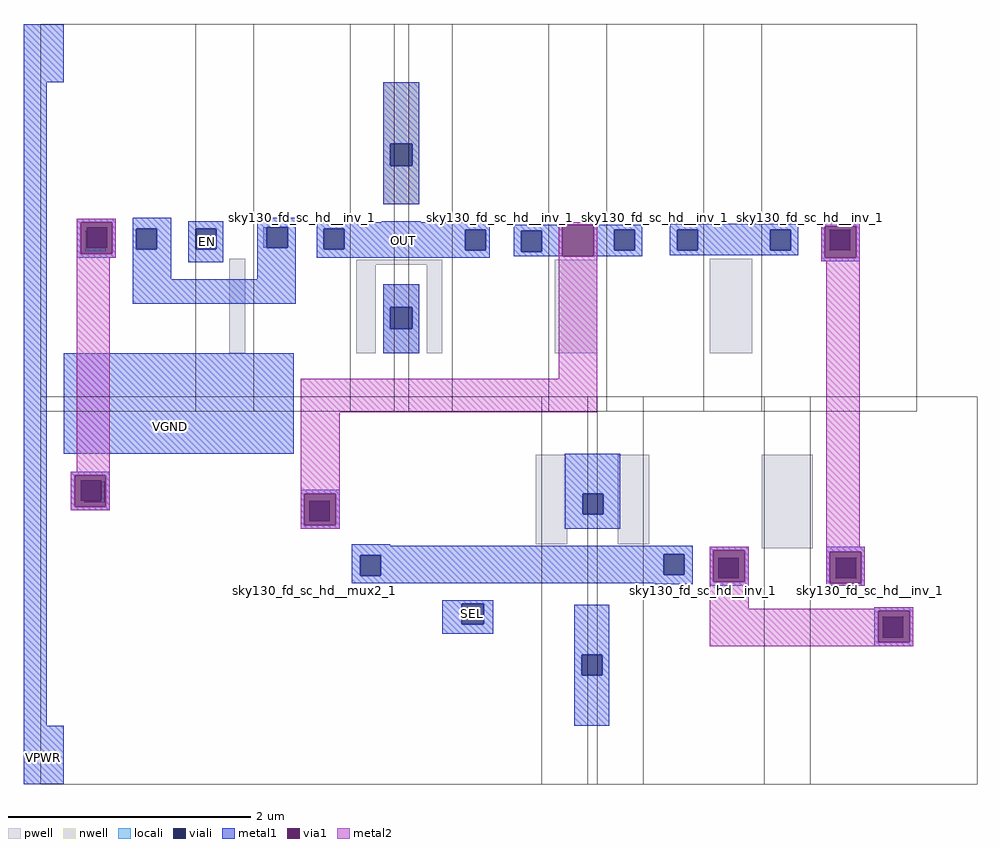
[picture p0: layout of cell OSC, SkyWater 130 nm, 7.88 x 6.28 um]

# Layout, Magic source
magic
tech sky130A
<< nwell >>
rect 540 148 570 249
<< pwell >>
rect 413 25 426 103
rect 518 98 589 102
rect 518 25 534 98
rect 540 25 570 82
rect 576 25 589 98
rect 682 25 717 102
rect 810 25 845 103
rect 666 -120 691 -59
rect 666 -133 692 -120
rect 734 -133 760 -59
rect 853 -136 895 -59
<< locali >>
rect 294 112 295 126
rect 294 109 311 112
rect 441 112 444 129
rect 307 -97 310 -81
rect 293 -98 310 -97
<< viali >>
rect 546 180 564 198
rect 295 112 312 129
rect 336 111 353 128
rect 385 111 402 128
rect 444 112 461 129
rect 491 111 508 128
rect 608 110 625 127
rect 654 109 671 126
rect 731 110 748 127
rect 783 110 800 127
rect 860 110 877 127
rect 909 110 926 127
rect 546 45 564 63
rect 290 -97 307 -80
rect 479 -114 496 -97
rect 705 -108 722 -91
rect 521 -159 538 -142
rect 772 -158 789 -141
rect 817 -161 834 -144
rect 914 -161 931 -144
rect 605 -199 623 -182
rect 953 -210 970 -193
rect 704 -241 721 -224
<< metal1 >>
rect 243 249 276 297
rect 243 -283 262 249
rect 540 198 570 249
rect 540 180 546 198
rect 564 180 570 198
rect 540 148 570 180
rect 287 133 319 136
rect 287 107 290 133
rect 316 107 319 133
rect 287 104 319 107
rect 333 128 365 137
rect 333 111 336 128
rect 353 111 365 128
rect 333 86 365 111
rect 379 128 408 134
rect 379 111 385 128
rect 402 111 408 128
rect 379 100 408 111
rect 436 129 468 137
rect 539 133 571 134
rect 436 112 444 129
rect 461 112 468 129
rect 436 86 468 112
rect 485 128 628 133
rect 485 111 491 128
rect 508 127 628 128
rect 508 111 608 127
rect 485 110 608 111
rect 625 110 628 127
rect 485 104 628 110
rect 648 126 688 131
rect 648 109 654 126
rect 671 109 688 126
rect 648 105 688 109
rect 714 127 754 131
rect 714 110 731 127
rect 748 110 754 127
rect 714 105 754 110
rect 777 127 883 132
rect 777 110 783 127
rect 800 110 860 127
rect 877 110 883 127
rect 777 106 883 110
rect 902 130 934 133
rect 902 104 905 130
rect 931 104 934 130
rect 902 101 934 104
rect 333 66 468 86
rect 540 63 570 82
rect 540 45 546 63
rect 564 45 570 63
rect 540 25 570 45
rect 276 -58 466 25
rect 282 -76 314 -73
rect 282 -102 285 -76
rect 311 -102 314 -76
rect 282 -105 314 -102
rect 472 -91 504 -88
rect 472 -117 475 -91
rect 501 -117 504 -91
rect 472 -120 504 -117
rect 690 -91 736 -58
rect 690 -108 705 -91
rect 722 -108 736 -91
rect 690 -120 736 -108
rect 514 -134 546 -133
rect 514 -141 796 -134
rect 514 -142 772 -141
rect 514 -159 521 -142
rect 538 -158 772 -142
rect 789 -158 796 -141
rect 538 -159 796 -158
rect 514 -165 796 -159
rect 764 -166 796 -165
rect 810 -138 842 -135
rect 810 -164 813 -138
rect 839 -164 842 -138
rect 810 -167 842 -164
rect 906 -139 938 -135
rect 906 -165 909 -139
rect 935 -165 938 -139
rect 906 -167 938 -165
rect 589 -182 631 -179
rect 589 -199 605 -182
rect 623 -199 631 -182
rect 589 -207 631 -199
rect 698 -224 727 -183
rect 946 -188 978 -185
rect 946 -214 949 -188
rect 975 -214 978 -188
rect 946 -217 978 -214
rect 698 -241 704 -224
rect 721 -241 727 -224
rect 698 -283 727 -241
rect 243 -331 276 -283
<< via1 >>
rect 290 129 316 133
rect 290 112 295 129
rect 295 112 312 129
rect 312 112 316 129
rect 290 107 316 112
rect 688 105 714 131
rect 905 127 931 130
rect 905 110 909 127
rect 909 110 926 127
rect 926 110 931 127
rect 905 104 931 110
rect 285 -80 311 -76
rect 285 -97 290 -80
rect 290 -97 307 -80
rect 307 -97 311 -80
rect 285 -102 311 -97
rect 475 -97 501 -91
rect 475 -114 479 -97
rect 479 -114 496 -97
rect 496 -114 501 -97
rect 475 -117 501 -114
rect 813 -144 839 -138
rect 813 -161 817 -144
rect 817 -161 834 -144
rect 834 -161 839 -144
rect 813 -164 839 -161
rect 909 -144 935 -139
rect 909 -161 914 -144
rect 914 -161 931 -144
rect 931 -161 935 -144
rect 909 -165 935 -161
rect 949 -193 975 -188
rect 949 -210 953 -193
rect 953 -210 970 -193
rect 970 -210 975 -193
rect 949 -214 975 -210
<< metal2 >>
rect 287 133 319 136
rect 287 107 290 133
rect 316 107 319 133
rect 287 104 319 107
rect 685 131 717 133
rect 685 105 688 131
rect 714 105 717 131
rect 287 -73 314 104
rect 685 4 717 105
rect 902 130 934 133
rect 902 104 905 130
rect 931 104 934 130
rect 902 101 934 104
rect 282 -76 314 -73
rect 282 -102 285 -76
rect 311 -102 314 -76
rect 282 -105 314 -102
rect 472 -24 717 4
rect 472 -91 504 -24
rect 472 -117 475 -91
rect 501 -117 504 -91
rect 472 -120 504 -117
rect 906 -135 934 101
rect 810 -138 842 -135
rect 810 -164 813 -138
rect 839 -164 842 -138
rect 810 -186 842 -164
rect 906 -139 938 -135
rect 906 -165 909 -139
rect 935 -165 938 -139
rect 906 -167 938 -165
rect 946 -186 978 -185
rect 810 -188 978 -186
rect 810 -214 949 -188
rect 975 -214 978 -188
rect 810 -217 978 -214
use sky130_fd_sc_hd__inv_1  sky130_fd_sc_hd__inv_1_0 ~/repos/sky130A/libs.ref/sky130_fd_sc_hd/mag
transform 1 0 404 0 1 1
box -19 -24 157 296
use sky130_fd_sc_hd__inv_1  sky130_fd_sc_hd__inv_1_1
transform 1 0 568 0 1 1
box -19 -24 157 296
use sky130_fd_sc_hd__nand2_1  sky130_fd_sc_hd__nand2_1_0 ~/repos/sky130A/libs.ref/sky130_fd_sc_hd/mag
transform 1 0 276 0 1 1
box -19 -24 157 296
use sky130_fd_sc_hd__tap_1  sky130_fd_sc_hd__tap_1_0 ~/repos/sky130A/libs.ref/sky130_fd_sc_hd/mag
transform 1 0 532 0 1 1
box -19 -24 65 296
use sky130_fd_sc_hd__inv_1  sky130_fd_sc_hd__inv_1_2
transform 1 0 696 0 1 1
box -19 -24 157 296
use sky130_fd_sc_hd__inv_1  sky130_fd_sc_hd__inv_1_4
transform 1 0 874 0 -1 -35
box -19 -24 157 296
use sky130_fd_sc_hd__inv_1  sky130_fd_sc_hd__inv_1_5
transform -1 0 874 0 -1 -35
box -19 -24 157 296
use sky130_fd_sc_hd__inv_1  sky130_fd_sc_hd__inv_1_3
transform 1 0 824 0 1 1
box -19 -24 157 296
use sky130_fd_sc_hd__tap_1  sky130_fd_sc_hd__tap_1_1
transform 1 0 690 0 -1 -35
box -19 -24 65 296
use sky130_fd_sc_hd__mux2_1  sky130_fd_sc_hd__mux2_1_0 ~/repos/sky130A/libs.ref/sky130_fd_sc_hd/mag
transform 1 0 276 0 -1 -35
box -19 -24 433 296
<< labels >>
rlabel viali 390 113 399 122 1 EN
port 1 n
rlabel viali 610 -194 617 -186 1 SEL
port 2 n
rlabel metal1 551 111 562 125 1 OUT
port 5 n
rlabel metal1 250 -321 268 -298 1 VPWR
port 3 n
rlabel metal1 349 -46 379 -26 1 VGND
port 4 n
<< end >>
